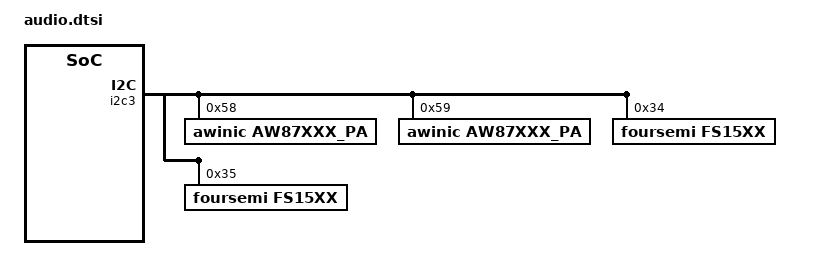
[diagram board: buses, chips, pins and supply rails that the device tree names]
/*Audio PA start*/
/*AW Class-K PA*/
&i2c3 {
        aw87xxx_pa@58 {
                compatible = "awinic,aw87xxx_pa";
                reg = <0x58>;
                //reset-gpio = <&pio 107 0>;
		esd-enable = "true";
                dev_index = < 0 >;
                status = "okay";
        };
        aw87xxx_pa@59 {
                compatible = "awinic,aw87xxx_pa";
                reg = <0x59>;
                //reset-gpio = <&pio 107 0>;
		esd-enable = "true";
                dev_index = < 1 >;
                status = "okay";
        };
/*FSM Class-K PA*/
        fs15xx@34 {
                compatible = "foursemi,fs15xx";
                reg = <0x34>;
                status = "okay";
        };
        fs15xx@35 {
                compatible = "foursemi,fs15xx";
                reg = <0x35>;
                status = "okay";
        };
};
/*Audio PA end*/

